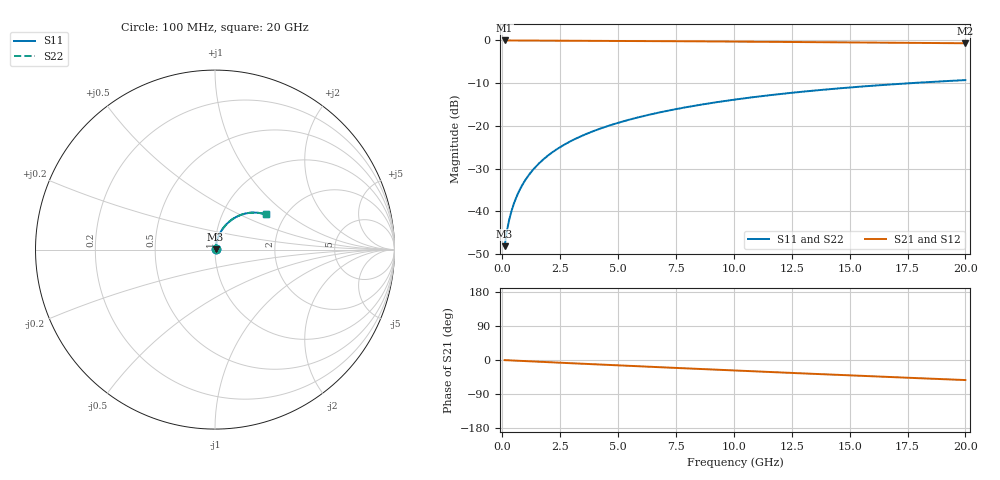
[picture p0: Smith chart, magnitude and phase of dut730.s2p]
! Touchstone file exported from HFSS 2026.1.0
!  File:  C:/ffzhzh/LocalFiles/Ansys_Project_Files/temp_train_TMRDL_730_1783154929_22436.aedt
!  Generated:  04:50:08 PM Jul  4, 2026
!  Design:  TMRDL
!  Project:  temp_train_TMRDL_730_1783154929_22436
! Variables:
!  h_bsmrdl = 2um
!  h_ox = 20um
!  h_rdl = 5um
!  h_sub = 80um
!  h_tmrdl = 5.6um
!  h_tsv = 80um
!  h_via = 3um
!  l_bsmrdl = 300um
!  l_sub = 1281.38um
!  l_tmrdl = 881.38um
!  m_sub = 200um
!  pitch = 37.95um
!  r_tsv = 6um
!  s_tmrdl = 10um
!  w_bsmrdl = 18um
!  w_sub = 500um
!  w_tmrdl = 20.22um
!  x_tsv_center1 = 891.49um
!  x_tsv_center2 = 1209.49um
!  x_tsv_center3 = 2111.09um
!  x_tsv_center4 = 2429.09um
!  x_tsv_center5 = 3330.69um
!  x_tsv_center6 = 3648.69um
# GHz S MA R 50.000000
! Terminal data exported
! Port[1] = TM_RDL1_1_T1
! Port[2] = TM_RDL1_1_T2
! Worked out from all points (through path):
!   200 points, 100 MHz to 20 GHz, reference 50 ohm
!   highest |S21| = -0.03 dB at 100 MHz (marker M1); lowest = -0.7 dB at 20 GHz (marker M2)
!   group delay of S21, straight-line fit = 7.34 ps
!   lowest |S11| = -48.1 dB at 100 MHz (marker M3), VSWR 1.01, Z = 50.3 + j0.26 ohm
!   |S11| at or under -10 dB: start of sweep to 17.66 GHz
!   |S22| runs from -48.1 to -9.3 dB; largest |S21 - S12| = 1.2e-14
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0.1  0.003928 41.2  0.9971 -0.3  0.9971 -0.3  0.003928 41.2
! Gamma 0 0 0 0
! Port Impedance 50 0 50 0
0.2  0.005937 57.0  0.9968 -0.6  0.9968 -0.6  0.005937 57.0
0.3  0.008045 64.4  0.9966 -0.9  0.9966 -0.9  0.008045 64.4
0.4  0.01018 68.7  0.9965 -1.2  0.9965 -1.2  0.01018 68.7
0.5  0.01234 71.6  0.9964 -1.5  0.9964 -1.5  0.01234 71.6
0.6  0.01452 73.6  0.9962 -1.8  0.9962 -1.8  0.01452 73.6
0.8  0.01894 76.0  0.996 -2.3  0.996 -2.3  0.01894 76.0
1.1  0.02563 77.7  0.9957 -3.2  0.9957 -3.2  0.02563 77.7
1.5  0.03454 78.3  0.995 -4.3  0.995 -4.3  0.03454 78.3
1.8  0.0412 78.2  0.9945 -5.2  0.9945 -5.2  0.0412 78.2
2.1  0.0478 77.9  0.9938 -6.0  0.9938 -6.0  0.0478 77.9
2.7  0.06083 76.9  0.9924 -7.7  0.9924 -7.7  0.06083 76.8
3.5  0.07782 75.1  0.9903 -10.0  0.9903 -10.0  0.07782 75.1
4.2  0.09234 73.4  0.9882 -11.9  0.9882 -11.9  0.09234 73.4
5  0.1086 71.5  0.9858 -14.1  0.9858 -14.1  0.1086 71.5
5.9  0.1264 69.3  0.9828 -16.6  0.9828 -16.6  0.1264 69.3
6.8  0.1439 67.0  0.9797 -19.0  0.9797 -19.0  0.1439 67.0
8.3  0.172 63.3  0.9743 -23.1  0.9743 -23.1  0.172 63.3
10.1  0.204 58.9  0.9672 -27.9  0.9672 -27.9  0.204 58.9
13.4  0.2577 50.7  0.9531 -36.5  0.9531 -36.5  0.2577 50.7
16.7  0.3042 42.7  0.9386 -44.8  0.9386 -44.8  0.3042 42.7
20  0.3429 34.8  0.9248 -52.9  0.9248 -52.9  0.3429 34.8
